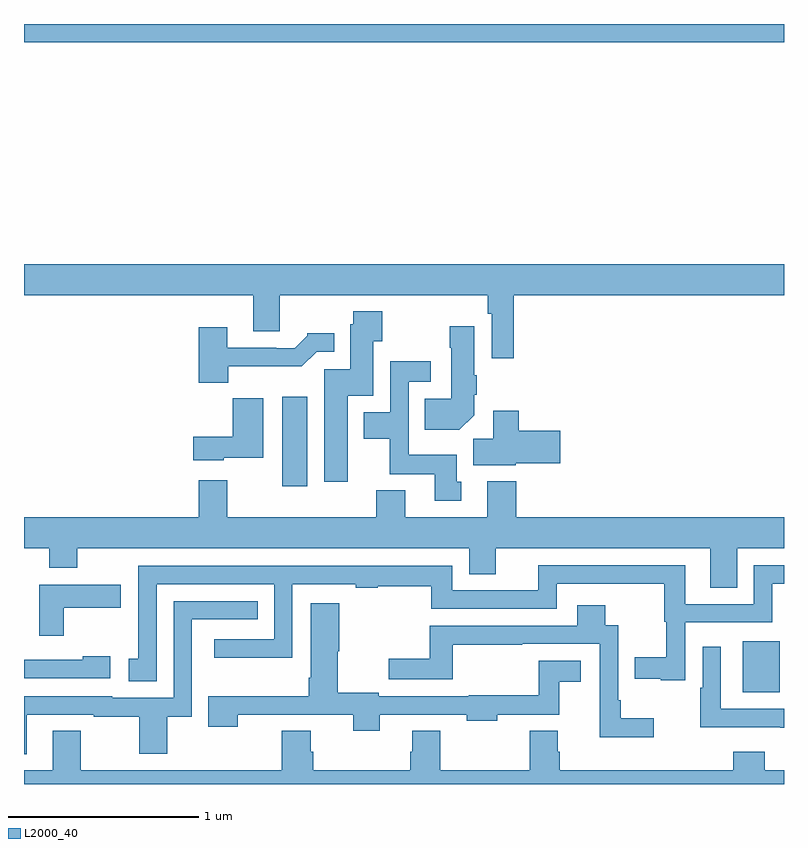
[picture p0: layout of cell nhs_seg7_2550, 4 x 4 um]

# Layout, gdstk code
import gdstk
lib = gdstk.Library(unit=1e-6, precision=1e-09)
def R(c, l, rs):  # rectangles x0, y0, x1, y1
    for r in rs: c.add(gdstk.rectangle(r[:2], r[2:], *l))
def P(c, l, *ps):  # polygons
    for p in ps: c.add(gdstk.Polygon(p, *l))
L2000_40 = (2000, 40)

nhs_seg7_2550 = lib.new_cell('nhs_seg7_2550')
R(nhs_seg7_2550, L2000_40, [(280.784,1042.484,280.978,1042.752), (278.36,1043.568,278.491,1044.037), (277,1045.904,281,1046)])
P(nhs_seg7_2550, L2000_40, [(279.578,1044.572),(281,1044.572),(281,1044.736),(277,1044.736),(277,1044.572),(278.207,1044.572),(278.207,1044.382),(278.347,1044.382),(278.347,1044.572),(279.442,1044.572),(279.442,1044.476),(279.462,1044.476),(279.462,1044.24),(279.578,1044.24)],
  [(278.704,1044.044),(278.839,1044.044),(278.839,1044.331),(278.886,1044.331),(278.886,1044.487),(278.734,1044.487),(278.734,1044.42),(278.717,1044.42),(278.717,1044.183),(278.579,1044.183),(278.579,1043.592),(278.704,1043.592)],
  [(279.37,1043.942),(279.37,1044.049),(279.383,1044.049),(279.383,1044.152),(279.37,1044.152),(279.37,1044.409),(279.241,1044.409),(279.241,1044.296),(279.248,1044.296),(279.248,1044.028),(279.109,1044.028),(279.109,1043.864),(279.292,1043.864)],
  [(278.074,1044.198),(278.463,1044.198),(278.541,1044.276),(278.632,1044.276),(278.632,1044.373),(278.49,1044.373),(278.49,1044.358),(278.426,1044.294),(278.327,1044.294),(278.327,1044.297),(278.071,1044.297),(278.071,1044.403),(277.919,1044.403),(277.919,1044.113),(278.074,1044.113)],
  [(279.301,1043.592),(279.277,1043.592),(279.277,1043.734),(279.024,1043.734),(279.024,1044.117),(279.142,1044.117),(279.142,1044.226),(278.928,1044.226),(278.928,1043.956),(278.789,1043.956),(278.789,1043.816),(278.926,1043.816),(278.926,1043.63),(279.161,1043.63),(279.161,1043.49),(279.301,1043.49)],
  [(278.052,1043.717),(278.26,1043.717),(278.26,1044.031),(278.098,1044.031),(278.098,1043.827),(277.89,1043.827),(277.89,1043.705),(278.052,1043.705)],
  [(279.588,1043.687),(279.823,1043.687),(279.823,1043.858),(279.605,1043.858),(279.605,1043.965),(279.47,1043.965),(279.47,1043.816),(279.365,1043.816),(279.365,1043.678),(279.588,1043.678)],
  [(280.753,1043.24),(281,1043.24),(281,1043.404),(279.59,1043.404),(279.59,1043.593),(279.437,1043.593),(279.437,1043.404),(279.007,1043.404),(279.007,1043.545),(278.855,1043.545),(278.855,1043.404),(278.071,1043.404),(278.071,1043.599),(277.919,1043.599),(277.919,1043.404),(277,1043.404),(277,1043.24),(277.133,1043.24),(277.133,1043.138),(277.281,1043.138),(277.281,1043.24),(279.344,1043.24),(279.344,1043.104),(279.484,1043.104),(279.484,1043.24),(280.613,1043.24),(280.613,1043.032),(280.753,1043.032)],
  [(277.698,1043.052),(278.316,1043.052),(278.316,1042.761),(278.001,1042.761),(278.001,1042.664),(278.412,1042.664),(278.412,1043.052),(278.746,1043.052),(278.746,1043.032),(278.862,1043.032),(278.862,1043.04),(279.143,1043.04),(279.143,1042.923),(279.804,1042.923),(279.804,1043.055),(280.147,1043.055),(280.147,1043.053),(280.371,1043.053),(280.371,1042.854),(280.381,1042.854),(280.381,1042.666),(280.215,1042.666),(280.215,1042.555),(280.352,1042.555),(280.352,1042.545),(280.479,1042.545),(280.479,1042.851),(280.938,1042.851),(280.938,1043.055),(281,1043.055),(281,1043.151),(280.842,1043.151),(280.842,1042.947),(280.48,1042.947),(280.48,1043.151),(279.706,1043.151),(279.706,1043.019),(279.255,1043.019),(279.255,1043.148),(277.602,1043.148),(277.602,1042.659),(277.551,1042.659),(277.551,1042.54),(277.698,1042.54)],
  [(277.209,1042.928),(277.51,1042.928),(277.51,1043.05),(277.079,1043.05),(277.079,1042.779),(277.209,1042.779)],
  [(277.015,1042.365),(277.368,1042.365),(277.368,1042.354),(277.606,1042.354),(277.606,1042.158),(277.753,1042.158),(277.753,1042.354),(277.884,1042.354),(277.884,1042.866),(278.231,1042.866),(278.231,1042.962),(277.788,1042.962),(277.788,1042.455),(277.464,1042.455),(277.464,1042.461),(277,1042.461),(277,1042.157),(277.015,1042.157)],
  [(278.872,1042.365),(279.331,1042.365),(279.331,1042.334),(279.491,1042.334),(279.491,1042.365),(279.818,1042.365),(279.818,1042.538),(279.931,1042.538),(279.931,1042.648),(279.708,1042.648),(279.708,1042.466),(279.342,1042.466),(279.342,1042.461),(278.868,1042.461),(278.868,1042.481),(278.65,1042.481),(278.65,1042.698),(278.658,1042.698),(278.658,1042.951),(278.51,1042.951),(278.51,1042.558),(278.498,1042.558),(278.498,1042.463),(278.077,1042.463),(278.077,1042.461),(277.969,1042.461),(277.969,1042.302),(278.126,1042.302),(278.126,1042.365),(278.732,1042.365),(278.732,1042.28),(278.872,1042.28)],
  [(280.315,1042.346),(280.141,1042.346),(280.141,1042.441),(280.128,1042.441),(280.128,1042.836),(280.059,1042.836),(280.059,1042.942),(279.911,1042.942),(279.911,1042.833),(279.135,1042.833),(279.135,1042.66),(278.919,1042.66),(278.919,1042.551),(279.256,1042.551),(279.256,1042.732),(279.623,1042.732),(279.623,1042.737),(280.031,1042.737),(280.031,1042.247),(280.315,1042.247)],
  [(281,1042.395),(280.668,1042.395),(280.668,1042.723),(280.572,1042.723),(280.572,1042.506),(280.56,1042.506),(280.56,1042.299),(280.981,1042.299),(280.981,1042.297),(281,1042.297)],
  [(277.453,1042.672),(277.308,1042.672),(277.308,1042.653),(277,1042.653),(277,1042.557),(277.453,1042.557)],
  [(281,1042.072),(280.898,1042.072),(280.898,1042.171),(280.733,1042.171),(280.733,1042.072),(279.821,1042.072),(279.821,1042.17),(279.808,1042.17),(279.808,1042.28),(279.661,1042.28),(279.661,1042.072),(279.192,1042.072),(279.192,1042.28),(279.044,1042.28),(279.044,1042.17),(279.032,1042.17),(279.032,1042.072),(278.522,1042.072),(278.522,1042.17),(278.509,1042.17),(278.509,1042.28),(278.357,1042.28),(278.357,1042.072),(277.299,1042.072),(277.299,1042.279),(277.151,1042.279),(277.151,1042.072),(277,1042.072),(277,1042),(281,1042)])

lib.write_gds('nhs_seg7_2550.gds')
